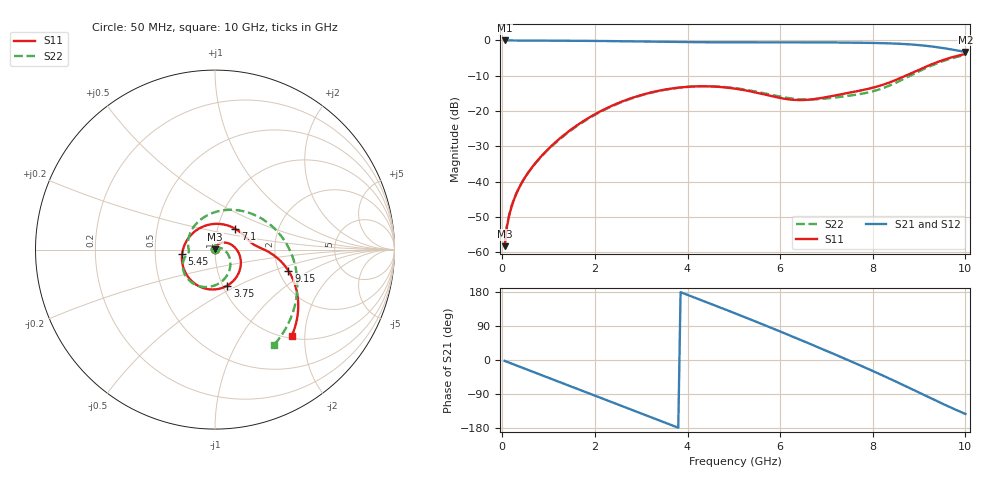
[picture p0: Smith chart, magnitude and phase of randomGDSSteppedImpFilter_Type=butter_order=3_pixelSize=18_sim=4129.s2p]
! freq	dB(S11)	phase(S11)	dB(S12)	phase(S12)
!  dB(S21)	phase(S21)	dB(S22)	phase(S22)
!S-par simulation data
#  GHz  S  DB  R 50
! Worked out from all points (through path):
!   200 points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, 50 MHz to 10 GHz, reference 50 ohm
!   highest |S21| = -0.01 dB at 50 MHz (marker M1); lowest = -3.3 dB at 10 GHz (marker M2)
!   group delay of S21, straight-line fit = 138 ps
!   lowest |S11| = -58.3 dB at 50 MHz (marker M3), VSWR 1.00, Z = 50 + j0.115 ohm
!   |S11| at or under -10 dB: start of sweep to 8.71 GHz
!   |S22| runs from -58.2 to -4.1 dB; largest |S21 - S12| = 0
!   S11 on the Smith chart (normalised r, x): 50 MHz: 1.00, +0.00; 3.75 GHz: 1.05, -0.44; 5.45 GHz: 0.69, -0.03; 7.1 GHz: 1.22, +0.29; 9.15 GHz: 2.25, -0.65; 10 GHz: 1.05, -1.72
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0.05  -58.34 71.5  -0.01 -2.4  -0.01 -2.4  -58.23 68.9
0.1  -52.79 76.1  -0.01 -4.7  -0.01 -4.7  -52.61 70.8
0.2  -47.14 79.6  -0.02 -9.4  -0.02 -9.4  -46.95 67.7
0.5  -38.65 78.9  -0.03 -23.5  -0.03 -23.5  -38.61 50.9
1.15  -28.85 59.6  -0.07 -53.9  -0.07 -53.9  -29.03 13.8
1.75  -22.88 32.5  -0.12 -82.1  -0.12 -82.1  -23.07 -15.3
2.5  -17.77 -5.5  -0.21 -117.5  -0.21 -117.5  -17.90 -48.2
2.95  -15.68 -28.9  -0.29 -138.7  -0.29 -138.7  -15.78 -67.3
3.4  -14.21 -52.6  -0.37 -159.9  -0.37 -159.9  -14.28 -85.9
3.75  -13.48 -71.2  -0.43 -176.4  -0.43 -176.4  -13.51 -100.0
4.4  -13.01 -106.8  -0.51 153.0  -0.51 153.0  -12.97 -125.0
5.05  -13.72 -145.7  -0.53 122.0  -0.53 122.0  -13.56 -147.6
5.45  -14.70 -173.1  -0.52 102.6  -0.52 102.6  -14.43 -159.1
6.05  -16.44 137.0  -0.50 72.8  -0.50 72.8  -16.05 -170.6
6.7  -16.69 76.2  -0.52 39.7  -0.52 39.7  -16.73 -179.0
7.1  -15.82 45.6  -0.56 19.0  -0.56 19.0  -16.31 169.6
7.7  -14.30 16.4  -0.65 -12.7  -0.65 -12.7  -15.26 134.8
8.35  -11.97 2.3  -0.82 -48.4  -0.82 -48.4  -12.86 75.7
8.75  -9.76 -5.1  -1.07 -71.4  -1.07 -71.4  -10.38 37.3
9.15  -7.42 -16.1  -1.53 -94.8  -1.53 -94.8  -7.82 2.7
9.55  -5.43 -30.4  -2.23 -117.8  -2.23 -117.8  -5.73 -28.0
10  -3.84 -48.2  -3.27 -142.4  -3.27 -142.4  -4.09 -58.2
